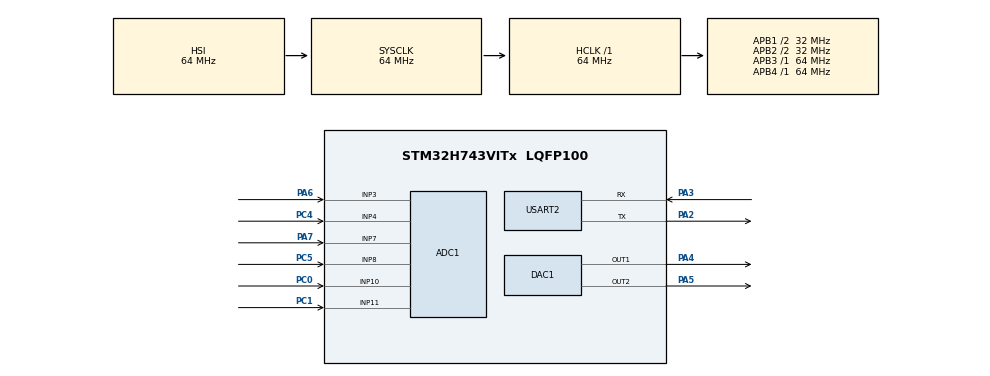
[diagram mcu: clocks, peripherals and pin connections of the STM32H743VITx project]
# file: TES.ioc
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ADC1.Channel-10\#ChannelRegularConversion=ADC_CHANNEL_10
ADC1.Channel-11\#ChannelRegularConversion=ADC_CHANNEL_11
ADC1.Channel-4\#ChannelRegularConversion=ADC_CHANNEL_3
ADC1.Channel-5\#ChannelRegularConversion=ADC_CHANNEL_4
ADC1.Channel-6\#ChannelRegularConversion=ADC_CHANNEL_7
ADC1.Channel-7\#ChannelRegularConversion=ADC_CHANNEL_8
ADC1.ClockPrescaler=ADC_CLOCK_ASYNC_DIV2
ADC1.ClockPrescalerADC3=ADC_CLOCK_ASYNC_DIV16
ADC1.ContinuousConvMode=ENABLE
ADC1.ConversionDataManagement=ADC_CONVERSIONDATA_DMA_CIRCULAR
ADC1.EOCSelection=ADC_EOC_SEQ_CONV
ADC1.NbrOfConversion=6
ADC1.NbrOfConversionFlag=1
ADC1.OffsetNumber-10\#ChannelRegularConversion=ADC_OFFSET_NONE
ADC1.OffsetNumber-11\#ChannelRegularConversion=ADC_OFFSET_NONE
ADC1.OffsetNumber-4\#ChannelRegularConversion=ADC_OFFSET_NONE
ADC1.OffsetNumber-5\#ChannelRegularConversion=ADC_OFFSET_NONE
ADC1.OffsetNumber-6\#ChannelRegularConversion=ADC_OFFSET_NONE
ADC1.OffsetNumber-7\#ChannelRegularConversion=ADC_OFFSET_NONE
ADC1.OffsetSignedSaturation-10\#ChannelRegularConversion=DISABLE
ADC1.OffsetSignedSaturation-11\#ChannelRegularConversion=DISABLE
ADC1.OffsetSignedSaturation-4\#ChannelRegularConversion=DISABLE
ADC1.OffsetSignedSaturation-5\#ChannelRegularConversion=DISABLE
ADC1.OffsetSignedSaturation-6\#ChannelRegularConversion=DISABLE
ADC1.OffsetSignedSaturation-7\#ChannelRegularConversion=DISABLE
ADC1.Overrun=ADC_OVR_DATA_OVERWRITTEN
ADC1.OversamplingMode=DISABLE
ADC1.Rank-10\#ChannelRegularConversion=5
ADC1.Rank-11\#ChannelRegularConversion=6
ADC1.Rank-4\#ChannelRegularConversion=1
ADC1.Rank-5\#ChannelRegularConversion=2
ADC1.Rank-6\#ChannelRegularConversion=3
ADC1.Rank-7\#ChannelRegularConversion=4
ADC1.Ratio=1
ADC1.SamplingTime-10\#ChannelRegularConversion=ADC_SAMPLETIME_1CYCLE_5
ADC1.SamplingTime-11\#ChannelRegularConversion=ADC_SAMPLETIME_1CYCLE_5
ADC1.SamplingTime-4\#ChannelRegularConversion=ADC_SAMPLETIME_1CYCLE_5
ADC1.SamplingTime-5\#ChannelRegularConversion=ADC_SAMPLETIME_1CYCLE_5
ADC1.SamplingTime-6\#ChannelRegularConversion=ADC_SAMPLETIME_1CYCLE_5
ADC1.SamplingTime-7\#ChannelRegularConversion=ADC_SAMPLETIME_1CYCLE_5
ADC1.master=1
ADC3.Channel-0\#ChannelRegularConversion=ADC_CHANNEL_TEMPSENSOR
ADC3.ClockPrescaler=ADC_CLOCK_ASYNC_DIV2
ADC3.ClockPrescalerADC3=ADC_CLOCK_ASYNC_DIV16
ADC3.NbrOfConversionFlag=1
ADC3.OffsetNumber-0\#ChannelRegularConversion=ADC_OFFSET_NONE
ADC3.OffsetSignedSaturation-0\#ChannelRegularConversion=DISABLE
ADC3.Overrun=ADC_OVR_DATA_OVERWRITTEN
ADC3.Rank-0\#ChannelRegularConversion=1
ADC3.SamplingTime-0\#ChannelRegularConversion=ADC_SAMPLETIME_810CYCLES_5
CORTEX_M7.AccessPermission-Cortex_Memory_Protection_Unit_Region0_Settings=MPU_REGION_FULL_ACCESS
CORTEX_M7.AccessPermission_Spec=MPU_REGION_FULL_ACCESS
CORTEX_M7.BaseAddress-Cortex_Memory_Protection_Unit_Region0_Settings=0x0
CORTEX_M7.BaseAddress_Spec=0x24000000
CORTEX_M7.CPU_DCache=Enabled
CORTEX_M7.CPU_ICache=Enabled
CORTEX_M7.DisableExec_Spec=MPU_INSTRUCTION_ACCESS_ENABLE
CORTEX_M7.Enable-Cortex_Memory_Protection_Unit_Region0_Settings=MPU_REGION_ENABLE
CORTEX_M7.Enable_S-Cortex_Memory_Protection_Unit_Region1_Settings_S=__NULL
CORTEX_M7.IsBufferable_Spec=MPU_ACCESS_NOT_BUFFERABLE
CORTEX_M7.IsCacheable_Spec=MPU_ACCESS_NOT_CACHEABLE
CORTEX_M7.IsShareable_Spec=MPU_ACCESS_NOT_SHAREABLE
CORTEX_M7.MPU_Control=MPU_PRIVILEGED_DEFAULT
CORTEX_M7.Size-Cortex_Memory_Protection_Unit_Region0_Settings=MPU_REGION_SIZE_16KB
CORTEX_M7.Size_Spec=MPU_REGION_SIZE_16KB
CORTEX_M7.SubRegionDisable_Spec=0x0
CORTEX_M7.TypeExtField_Spec=MPU_TEX_LEVEL0
CORTEX_M7.default_mode_Activation=1
DAC1.DAC_Channel-DAC_OUT1=DAC_CHANNEL_1
DAC1.DAC_Channel-DAC_OUT2=DAC_CHANNEL_2
DAC1.DAC_Trigger-DAC_OUT1=DAC_TRIGGER_T4_TRGO
DAC1.DAC_Trigger-DAC_OUT2=DAC_TRIGGER_T8_TRGO
DAC1.DAC_UserTrimming-DAC_OUT2=DAC_TRIMMING_FACTORY
DAC1.TriangleAmplitude-DAC_OUT2=DAC_TRIANGLEAMPLITUDE_4095
DAC1.WaveGeneration-DAC_OUT2=TriangleWaveGeneration
Dma.ADC1.0.Direction=DMA_PERIPH_TO_MEMORY
Dma.ADC1.0.EventEnable=DISABLE
Dma.ADC1.0.FIFOMode=DMA_FIFOMODE_DISABLE
Dma.ADC1.0.Instance=DMA2_Stream0
Dma.ADC1.0.MemDataAlignment=DMA_MDATAALIGN_HALFWORD
Dma.ADC1.0.MemInc=DMA_MINC_ENABLE
Dma.ADC1.0.Mode=DMA_CIRCULAR
Dma.ADC1.0.PeriphDataAlignment=DMA_PDATAALIGN_HALFWORD
Dma.ADC1.0.PeriphInc=DMA_PINC_DISABLE
Dma.ADC1.0.Polarity=HAL_DMAMUX_REQ_GEN_RISING
Dma.ADC1.0.Priority=DMA_PRIORITY_VERY_HIGH
Dma.ADC1.0.RequestNumber=1
Dma.ADC1.0.SignalID=NONE
Dma.ADC1.0.SyncEnable=DISABLE
Dma.ADC1.0.SyncPolarity=HAL_DMAMUX_SYNC_NO_EVENT
Dma.ADC1.0.SyncRequestNumber=1
Dma.ADC1.0.SyncSignalID=NONE
Dma.DAC1_CH1.1.Direction=DMA_MEMORY_TO_PERIPH
Dma.DAC1_CH1.1.EventEnable=DISABLE
Dma.DAC1_CH1.1.FIFOMode=DMA_FIFOMODE_DISABLE
Dma.DAC1_CH1.1.Instance=DMA1_Stream0
Dma.DAC1_CH1.1.MemDataAlignment=DMA_MDATAALIGN_HALFWORD
Dma.DAC1_CH1.1.MemInc=DMA_MINC_ENABLE
Dma.DAC1_CH1.1.Mode=DMA_CIRCULAR
Dma.DAC1_CH1.1.PeriphDataAlignment=DMA_PDATAALIGN_HALFWORD
Dma.DAC1_CH1.1.PeriphInc=DMA_PINC_DISABLE
Dma.DAC1_CH1.1.Polarity=HAL_DMAMUX_REQ_GEN_RISING
Dma.DAC1_CH1.1.Priority=DMA_PRIORITY_VERY_HIGH
Dma.DAC1_CH1.1.RequestNumber=1
Dma.DAC1_CH1.1.SignalID=NONE
Dma.DAC1_CH1.1.SyncEnable=DISABLE
Dma.DAC1_CH1.1.SyncPolarity=HAL_DMAMUX_SYNC_NO_EVENT
Dma.DAC1_CH1.1.SyncRequestNumber=1
Dma.DAC1_CH1.1.SyncSignalID=NONE
Dma.Request0=ADC1
Dma.Request1=DAC1_CH1
Mcu.Family=STM32H7
Mcu.Name=STM32H743VITx
Mcu.Package=LQFP100
NVIC.DMA1_Stream0_IRQn=true\:0\:0\:false\:false\:true\:false\:true\:true
NVIC.DMA2_Stream0_IRQn=true\:0\:0\:false\:false\:true\:false\:true\:true
NVIC.PriorityGroup=NVIC_PRIORITYGROUP_4
PA2.Mode=Asynchronous
PA2.Signal=USART2_TX
PA3.Mode=Asynchronous
PA3.Signal=USART2_RX
PA4.Signal=COMP_DAC11_group
PA5.Signal=COMP_DAC12_group
PA6.Signal=ADCx_INP3
PA7.Signal=ADCx_INP7
PC0.Signal=ADCx_INP10
PC1.Signal=ADCx_INP11
PC14-OSC32_IN\ (OSC32_IN).Mode=LSE-External-Oscillator
PC14-OSC32_IN\ (OSC32_IN).Signal=RCC_OSC32_IN
PC15-OSC32_OUT\ (OSC32_OUT).Mode=LSE-External-Oscillator
PC15-OSC32_OUT\ (OSC32_OUT).Signal=RCC_OSC32_OUT
PC4.Signal=ADCx_INP4
PC5.Signal=ADCx_INP8
PH0-OSC_IN\ (PH0).Mode=HSE-External-Oscillator
PH0-OSC_IN\ (PH0).Signal=RCC_OSC_IN
PH1-OSC_OUT\ (PH1).Mode=HSE-External-Oscillator
PH1-OSC_OUT\ (PH1).Signal=RCC_OSC_OUT
ProjectManager.HeapSize=0x200
ProjectManager.StackSize=0x400
ProjectManager.TargetToolchain=MDK-ARM V5.32
RCC.ADCFreq_Value=72000000
RCC.APB1Freq_Value=32000000
RCC.APB2Freq_Value=32000000
RCC.APB3Freq_Value=64000000
RCC.APB4Freq_Value=64000000
RCC.CortexFreq_Value=64000000
RCC.D2PPRE1=RCC_APB1_DIV2
RCC.D2PPRE2=RCC_APB2_DIV2
RCC.DIVM1=4
RCC.DIVM2=4
RCC.DIVM3=4
RCC.DIVN1=10
RCC.DIVN2=36
RCC.DIVN3=10
RCC.DIVP2=8
RCC.DIVP3=4
RCC.DIVQ3=4
RCC.HCLKFreq_Value=64000000
RCC.PLL1_VCI_Range-AdvancedSettings=RCC_PLL1VCIRANGE_0
RCC.PLL2FRACN=0
RCC.PLL3FRACN=0
RCC.PLLFRACN=0
RCC.SYSCLKFreq_VALUE=64000000
RCC.USBFreq_Value=80000000
SH.ADCx_INP10.0=ADC1_INP10,IN10-Single-Ended
SH.ADCx_INP11.0=ADC1_INP11,IN11-Single-Ended
SH.ADCx_INP3.0=ADC1_INP3,IN3-Single-Ended
SH.ADCx_INP4.0=ADC1_INP4,IN4-Single-Ended
SH.ADCx_INP7.0=ADC1_INP7,IN7-Single-Ended
SH.ADCx_INP8.0=ADC1_INP8,IN8-Single-Ended
SH.COMP_DAC11_group.0=DAC1_OUT1,DAC_OUT1
SH.COMP_DAC12_group.0=DAC1_OUT2,DAC_OUT2
TIM4.AutoReloadPreload=TIM_AUTORELOAD_PRELOAD_ENABLE
TIM4.Period=1
TIM4.Prescaler=1
TIM4.TIM_MasterOutputTrigger=TIM_TRGO_UPDATE
TIM8.AutoReloadPreload=TIM_AUTORELOAD_PRELOAD_ENABLE
TIM8.Period=1
TIM8.Prescaler=1
TIM8.TIM_MasterOutputTrigger=TIM_TRGO_UPDATE
TIM8.TIM_MasterOutputTrigger2=TIM_TRGO2_UPDATE
USART2.VirtualMode-Asynchronous=VM_ASYNC
VP_ADC3_TempSens_Input.Mode=IN-TempSens
VP_MEMORYMAP_VS_MEMORYMAP.Mode=CurAppReg
VP_TIM4_VS_ClockSourceINT.Mode=Internal
VP_TIM8_VS_ClockSourceINT.Mode=Internal
board=custom

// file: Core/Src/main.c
/* USER CODE BEGIN Header */
/**
  ******************************************************************************
  * @file           : main.c
  * @brief          : Main program body
  ******************************************************************************
  * @attention
  *
  * Copyright (c) 2025 STMicroelectronics.
  * All rights reserved.
  *
  * This software is licensed under terms that can be found in the LICENSE file
  * in the root directory of this software component.
  * If no LICENSE file comes with this software, it is provided AS-IS.
  *
  ******************************************************************************
  */
/* USER CODE END Header */
#include "main.h"
#include "adc.h"
#include "dac.h"
#include "dma.h"
#include "memorymap.h"
#include "tim.h"
#include "usart.h"
#include "gpio.h"

/* USER CODE BEGIN Includes */
#include <stdio.h>
#include "t2uart.h"
#include "math.h"
//
/* USER CODE END Includes */

void SystemClock_Config(void);
void PeriphCommonClock_Config(void);
static void MPU_Config(void);

/* USER CODE BEGIN 0 */
#define KEY0 (HAL_GPIO_ReadPin(GPIOA, GPIO_PIN_0))
uint16_t Sine12bit[100]={	0x0800,0x0881,0x0901,0x0980,0x09FD,0x0A79,0x0AF2,0x0B68,0x0BDA,0x0C49,
  0x0CB3,0x0D19,0x0D79,0x0DD4,0x0E29,0x0E78,0x0EC0,0x0F02,0x0F3C,0x0F6F,	0x0F9B,0x0FBF,0x0FDB,0x0FEF,0x0FFB,0x0FFF,0x0FFB,0x0FEF,0x0FDB,0x0FBF,
  0x0F9B,0x0F6F,0x0F3C,0x0F02,0x0EC0,0x0E78,0x0E29,0x0DD4,0x0D79,0x0D19,
  0x0CB3,0x0C49,0x0BDA,0x0B68,0x0AF2,0x0A79,0x09FD,0x0980,0x0901,0x0881,
  0x0800,0x077F,0x06FF,0x0680,0x0603,0x0587,0x050E,0x0498,0x0426,0x03B7,	0x034D,0x02E7,0x0287,0x022C,0x01D7,0x0188,0x0140,0x00FE,0x00C4,0x0091,
  0x0065,0x0041,0x0025,0x0011,0x0005,0x0001,0x0005,0x0011,0x0025,0x0041,
  0x0065,0x0091,0x00C4,0x00FE,0x0140,0x0188,0x01D7,0x022C,0x0287,0x02E7,
  0x034D,0x03B7,0x0426,0x0498,0x050E,0x0587,0x0603,0x0680,0x06FF,0x077F,
  };

/* USER CODE END 0 */

int main(void)
{

  /* MPU Configuration--------------------------------------------------------*/
  MPU_Config();

  /* Enable the CPU Cache */

  /* Enable I-Cache---------------------------------------------------------*/
  SCB_EnableICache();

  /* Enable D-Cache---------------------------------------------------------*/
  SCB_EnableDCache();

  /* MCU Configuration--------------------------------------------------------*/

  /* Reset of all peripherals, Initializes the Flash interface and the Systick. */
  HAL_Init();

  /* Configure the system clock */
  SystemClock_Config();

  /* Configure the peripherals common clocks */
  PeriphCommonClock_Config();

  /* Initialize all configured peripherals */
  MX_GPIO_Init();
  MX_DMA_Init();
  MX_ADC1_Init();
  MX_ADC3_Init();
  MX_DAC1_Init();
  MX_TIM4_Init();
  MX_TIM8_Init();
  MX_USART2_UART_Init();
  /* USER CODE BEGIN 2 */
  HAL_TIM_Base_Start(&htim4);//开启定时器2
  HAL_DAC_Start_DMA(&hdac1,DAC_CHANNEL_1,(uint32_t*)Sine12bit, 40,DAC_ALIGN_12B_R);//开启输出
HAL_TIM_Base_Start(&htim4);

  HAL_TIM_Base_Start(&htim8);
  HAL_DAC_Start(&hdac1, DAC_CHANNEL_2);
  for (uint8_t i =0;i < 40;i ++){
    Sine12bit[i] = (uint16_t)((0.5 + sin(i * 2 * 3.1415926 / 40) / 2) * 4095);
  }
  /* USER CODE END 2 */

  /* Infinite loop */
	while (1)
	{

    /* USER CODE BEGIN 3 */
		ShowADCResult();
		//HAL_Delay(5);
	}
  /* USER CODE END 3 */
}

void SystemClock_Config(void)
{
  RCC_OscInitTypeDef RCC_OscInitStruct = {0};
  RCC_ClkInitTypeDef RCC_ClkInitStruct = {0};

  /** Supply configuration update enable
  */
  HAL_PWREx_ConfigSupply(PWR_LDO_SUPPLY);

  /** Configure the main internal regulator output voltage
  */
  __HAL_PWR_VOLTAGESCALING_CONFIG(PWR_REGULATOR_VOLTAGE_SCALE3);

  while(!__HAL_PWR_GET_FLAG(PWR_FLAG_VOSRDY)) {}

  /** Macro to configure the PLL clock source
  */
  __HAL_RCC_PLL_PLLSOURCE_CONFIG(RCC_PLLSOURCE_HSI);

  /** Initializes the RCC Oscillators according to the specified parameters
  * in the RCC_OscInitTypeDef structure.
  */
  RCC_OscInitStruct.OscillatorType = RCC_OSCILLATORTYPE_HSI;
  RCC_OscInitStruct.HSIState = RCC_HSI_DIV1;
  RCC_OscInitStruct.HSICalibrationValue = RCC_HSICALIBRATION_DEFAULT;
  RCC_OscInitStruct.PLL.PLLState = RCC_PLL_NONE;
  if (HAL_RCC_OscConfig(&RCC_OscInitStruct) != HAL_OK)
  {
    Error_Handler();
  }

  /** Initializes the CPU, AHB and APB buses clocks
  */
  RCC_ClkInitStruct.ClockType = RCC_CLOCKTYPE_HCLK|RCC_CLOCKTYPE_SYSCLK
                              |RCC_CLOCKTYPE_PCLK1|RCC_CLOCKTYPE_PCLK2
                              |RCC_CLOCKTYPE_D3PCLK1|RCC_CLOCKTYPE_D1PCLK1;
  RCC_ClkInitStruct.SYSCLKSource = RCC_SYSCLKSOURCE_HSI;
  RCC_ClkInitStruct.SYSCLKDivider = RCC_SYSCLK_DIV1;
  RCC_ClkInitStruct.AHBCLKDivider = RCC_HCLK_DIV1;
  RCC_ClkInitStruct.APB3CLKDivider = RCC_APB3_DIV1;
  RCC_ClkInitStruct.APB1CLKDivider = RCC_APB1_DIV2;
  RCC_ClkInitStruct.APB2CLKDivider = RCC_APB2_DIV2;
  RCC_ClkInitStruct.APB4CLKDivider = RCC_APB4_DIV1;

  if (HAL_RCC_ClockConfig(&RCC_ClkInitStruct, FLASH_LATENCY_1) != HAL_OK)
  {
    Error_Handler();
  }
}

void PeriphCommonClock_Config(void)
{
  RCC_PeriphCLKInitTypeDef PeriphClkInitStruct = {0};

  /** Initializes the peripherals clock
  */
  PeriphClkInitStruct.PeriphClockSelection = RCC_PERIPHCLK_ADC;
  PeriphClkInitStruct.PLL2.PLL2M = 4;
  PeriphClkInitStruct.PLL2.PLL2N = 36;
  PeriphClkInitStruct.PLL2.PLL2P = 8;
  PeriphClkInitStruct.PLL2.PLL2Q = 2;
  PeriphClkInitStruct.PLL2.PLL2R = 2;
  PeriphClkInitStruct.PLL2.PLL2RGE = RCC_PLL2VCIRANGE_3;
  PeriphClkInitStruct.PLL2.PLL2VCOSEL = RCC_PLL2VCOWIDE;
  PeriphClkInitStruct.PLL2.PLL2FRACN = 0;
  PeriphClkInitStruct.AdcClockSelection = RCC_ADCCLKSOURCE_PLL2;
  if (HAL_RCCEx_PeriphCLKConfig(&PeriphClkInitStruct) != HAL_OK)
  {
    Error_Handler();
  }
}

 /* MPU Configuration */

void MPU_Config(void)
{
  MPU_Region_InitTypeDef MPU_InitStruct = {0};

  /* Disables the MPU */
  HAL_MPU_Disable();

  /** Initializes and configures the Region and the memory to be protected
  */
  MPU_InitStruct.Enable = MPU_REGION_ENABLE;
  MPU_InitStruct.Number = MPU_REGION_NUMBER0;
  MPU_InitStruct.BaseAddress = 0x24000000;
  MPU_InitStruct.Size = MPU_REGION_SIZE_16KB;
  MPU_InitStruct.SubRegionDisable = 0x0;
  MPU_InitStruct.TypeExtField = MPU_TEX_LEVEL0;
  MPU_InitStruct.AccessPermission = MPU_REGION_FULL_ACCESS;
  MPU_InitStruct.DisableExec = MPU_INSTRUCTION_ACCESS_ENABLE;
  MPU_InitStruct.IsShareable = MPU_ACCESS_NOT_SHAREABLE;
  MPU_InitStruct.IsCacheable = MPU_ACCESS_NOT_CACHEABLE;
  MPU_InitStruct.IsBufferable = MPU_ACCESS_NOT_BUFFERABLE;

  HAL_MPU_ConfigRegion(&MPU_InitStruct);
  /* Enables the MPU */
  HAL_MPU_Enable(MPU_PRIVILEGED_DEFAULT);

}

void Error_Handler(void)
{
  __disable_irq();
  while (1)
  {
  }
}
